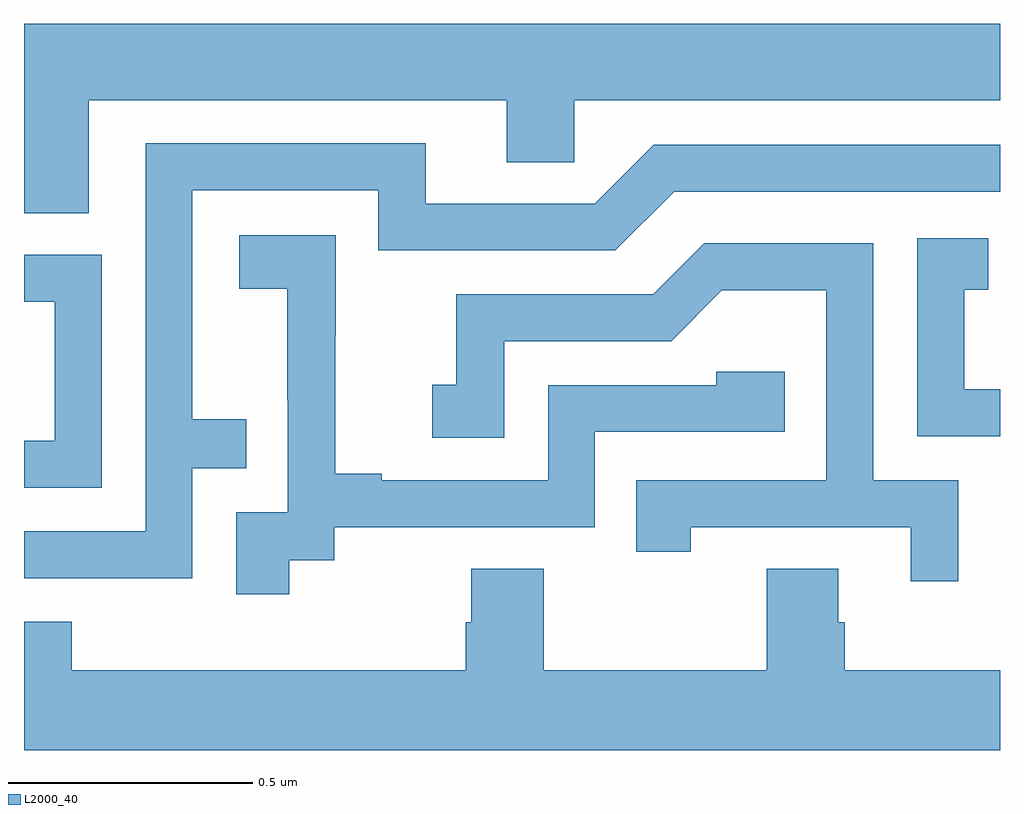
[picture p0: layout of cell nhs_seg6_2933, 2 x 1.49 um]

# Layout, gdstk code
import gdstk
lib = gdstk.Library(unit=1e-6, precision=1e-09)
def P(c, l, *ps):  # polygons
    for p in ps: c.add(gdstk.Polygon(p, *l))
L2000_40 = (2000, 40)

nhs_seg6_2933 = lib.new_cell('nhs_seg6_2933')
P(nhs_seg6_2933, L2000_40, [(150.133,939.344),(150.989,939.344),(150.989,939.217),(151.128,939.217),(151.128,939.344),(152,939.344),(152,939.5),(150,939.5),(150,939.112),(150.133,939.112)],
  [(150.345,938.589),(150.455,938.589),(150.455,938.69),(150.345,938.69),(150.345,939.159),(150.726,939.159),(150.726,939.036),(151.212,939.036),(151.332,939.156),(152,939.156),(152,939.252),(151.29,939.252),(151.17,939.132),(150.823,939.132),(150.823,939.255),(150.249,939.255),(150.249,938.46),(150,938.46),(150,938.364),(150.345,938.364)],
  [(150.544,938.401),(150.636,938.401),(150.636,938.469),(151.17,938.469),(151.17,938.664),(151.559,938.664),(151.559,938.787),(151.419,938.787),(151.419,938.76),(151.074,938.76),(151.074,938.565),(150.733,938.565),(150.733,938.578),(150.638,938.578),(150.638,938.861),(150.639,938.861),(150.639,939.067),(150.441,939.067),(150.441,938.957),(150.539,938.957),(150.539,938.729),(150.54,938.729),(150.54,938.499),(150.435,938.499),(150.435,938.331),(150.544,938.331)],
  [(152,938.751),(151.927,938.751),(151.927,938.955),(151.976,938.955),(151.976,939.061),(151.83,939.061),(151.83,938.655),(152,938.655)],
  [(151.914,938.565),(151.74,938.565),(151.74,939.051),(151.394,939.051),(151.289,938.946),(150.886,938.946),(150.886,938.761),(150.837,938.761),(150.837,938.652),(150.984,938.652),(150.984,938.85),(151.326,938.85),(151.43,938.954),(151.644,938.954),(151.644,938.565),(151.255,938.565),(151.255,938.418),(151.366,938.418),(151.366,938.469),(151.817,938.469),(151.817,938.358),(151.914,938.358)],
  [(150.159,939.027),(150,939.027),(150,938.931),(150.063,938.931),(150.063,938.646),(150,938.646),(150,938.55),(150.159,938.55)],
  [(150,938.275),(150,938.012),(152,938.012),(152,938.176),(151.682,938.176),(151.682,938.274),(151.669,938.274),(151.669,938.384),(151.522,938.384),(151.522,938.176),(151.065,938.176),(151.065,938.384),(150.917,938.384),(150.917,938.274),(150.905,938.274),(150.905,938.176),(150.098,938.176),(150.098,938.275)])

lib.write_gds('nhs_seg6_2933.gds')
